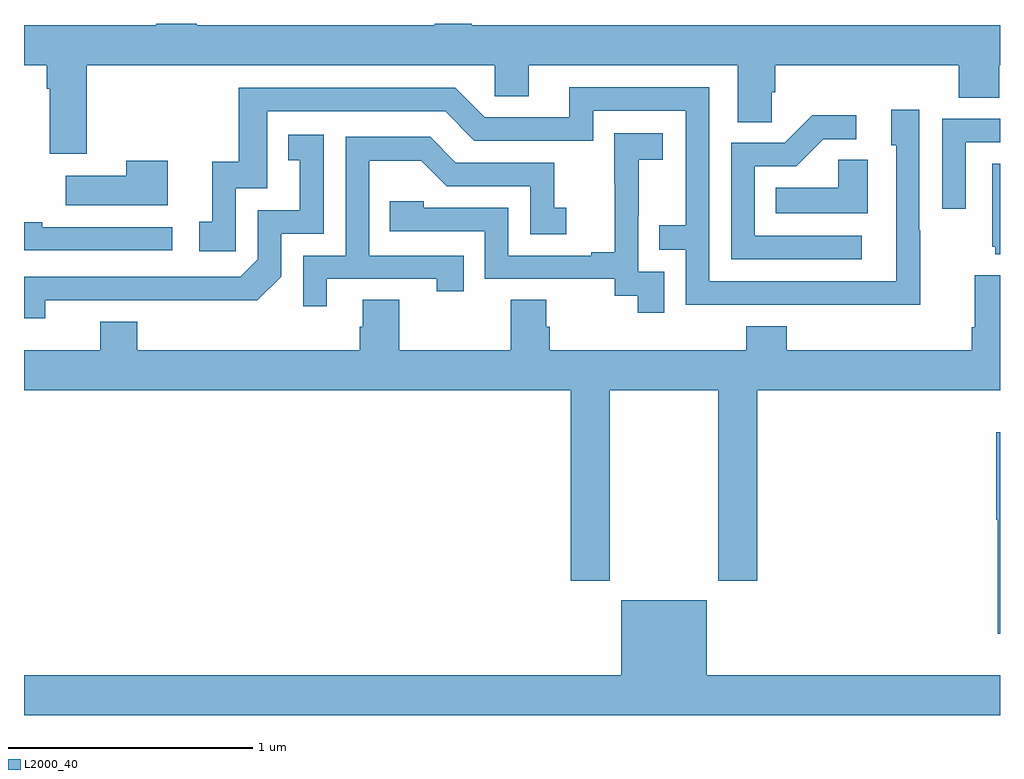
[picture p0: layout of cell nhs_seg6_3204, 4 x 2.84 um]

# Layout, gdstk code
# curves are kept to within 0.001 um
import gdstk
lib = gdstk.Library(unit=1e-6, precision=1e-09)
def P(c, l, *ps):  # polygons
    for p in ps: c.add(gdstk.Polygon(p, *l))
L2000_40 = (2000, 40)

nhs_seg6_3204 = lib.new_cell('nhs_seg6_3204')
P(nhs_seg6_3204, L2000_40, [(300.93,955.201),(301.069,955.201),(301.069,955.328),(301.925,955.328),(301.925,955.096),(302.064,955.096),(302.064,955.219),(302.078,955.219),(302.078,955.328),(302.831,955.328),(302.831,955.195),(302.996,955.195),(302.996,955.328),(303,955.328),(303,955.492),(300.835,955.492),(300.835,955.5),(300.683,955.5),(300.683,955.492),(299.708,955.492),(299.708,955.5),(299.543,955.5),(299.543,955.492),(299,955.492),(299,955.328),(299.093,955.328),(299.093,955.232),(299.105,955.232),(299.105,954.966),(299.258,954.966),(299.258,955.328),(300.93,955.328)],
  [(302.673,954.653),(302.67,954.653),(302.67,955.147),(302.555,955.147),(302.555,955.002),(302.574,955.002),(302.574,954.444),(301.809,954.444),(301.809,955.239),(301.235,955.239),(301.235,955.116),(300.888,955.116),(300.768,955.236),(299.881,955.236),(299.881,954.934),(299.771,954.934),(299.771,954.687),(299.718,954.687),(299.718,954.567),(299.868,954.567),(299.868,954.825),(299.997,954.825),(299.997,955.14),(300.726,955.14),(300.846,955.02),(301.332,955.02),(301.332,955.143),(301.713,955.143),(301.713,954.674),(301.603,954.674),(301.603,954.573),(301.713,954.573),(301.713,954.348),(302.673,954.347)],
  [(302.434,954.63),(301.995,954.63),(301.995,954.915),(302.164,954.915),(302.275,955.026),(302.41,955.026),(302.41,955.124),(302.231,955.124),(302.118,955.011),(301.899,955.011),(301.899,954.534),(302.434,954.534)],
  [(302.859,955.014),(303,955.014),(303,955.11),(302.763,955.11),(302.763,954.741),(302.859,954.741)],
  [(301.623,954.483),(301.518,954.483),(301.518,954.713),(301.52,954.713),(301.52,954.941),(301.618,954.941),(301.618,955.051),(301.42,955.051),(301.42,954.845),(301.421,954.845),(301.421,954.562),(301.325,954.562),(301.325,954.549),(300.984,954.549),(300.984,954.744),(300.639,954.744),(300.639,954.771),(300.499,954.771),(300.499,954.648),(300.888,954.648),(300.888,954.453),(301.422,954.453),(301.422,954.385),(301.515,954.385),(301.515,954.315),(301.623,954.315)],
  [(299.088,954.366),(299.956,954.365),(300.054,954.462),(300.054,954.639),(300.228,954.639),(300.228,955.045),(300.082,955.045),(300.082,954.939),(300.131,954.939),(300.131,954.735),(299.958,954.735),(299.958,954.534),(299.886,954.462),(299,954.462),(299,954.293),(299.088,954.293)],
  [(300.241,954.453),(300.692,954.453),(300.692,954.402),(300.803,954.402),(300.803,954.549),(300.414,954.549),(300.414,954.938),(300.628,954.938),(300.732,954.834),(301.074,954.834),(301.074,954.636),(301.222,954.636),(301.222,954.745),(301.173,954.745),(301.173,954.93),(300.769,954.93),(300.664,955.035),(300.318,955.035),(300.318,954.549),(300.144,954.549),(300.144,954.342),(300.241,954.342)],
  [(302.458,954.941),(302.337,954.941),(302.337,954.826),(302.08,954.826),(302.08,954.722),(302.458,954.722)],
  [(299.59,954.937),(299.42,954.937),(299.42,954.877),(299.171,954.877),(299.171,954.755),(299.59,954.755)],
  [(303,954.925),(302.969,954.925),(302.969,954.585),(302.981,954.585),(302.981,954.554),(303,954.554)],
  [(299.608,954.666),(299.075,954.666),(299.075,954.686),(299,954.686),(299,954.57),(299.608,954.57)],
  [(301.401,953.996),(301.846,953.996),(301.846,953.217),(302.006,953.217),(302.006,953.996),(303,953.996),(303,954.469),(302.897,954.469),(302.897,954.256),(302.885,954.256),(302.885,954.16),(302.126,954.16),(302.126,954.259),(301.961,954.259),(301.961,954.16),(301.154,954.16),(301.154,954.258),(301.141,954.258),(301.141,954.368),(300.994,954.368),(300.994,954.16),(300.537,954.16),(300.537,954.368),(300.389,954.368),(300.389,954.258),(300.377,954.258),(300.377,954.16),(299.465,954.16),(299.465,954.277),(299.312,954.277),(299.312,954.16),(299,954.16),(299,953.996),(301.241,953.996),(301.241,953.217),(301.401,953.217)],
  [(303,953.824),(302.984,953.824),(302.984,953.466),(302.99,953.466),(302.99,952.998),(303,952.998)],
  [(303,952.828),(301.798,952.828),(301.798,953.137),(301.448,953.137),(301.448,952.828),(299,952.828),(299,952.664),(303,952.664)])

lib.write_gds('nhs_seg6_3204.gds')
